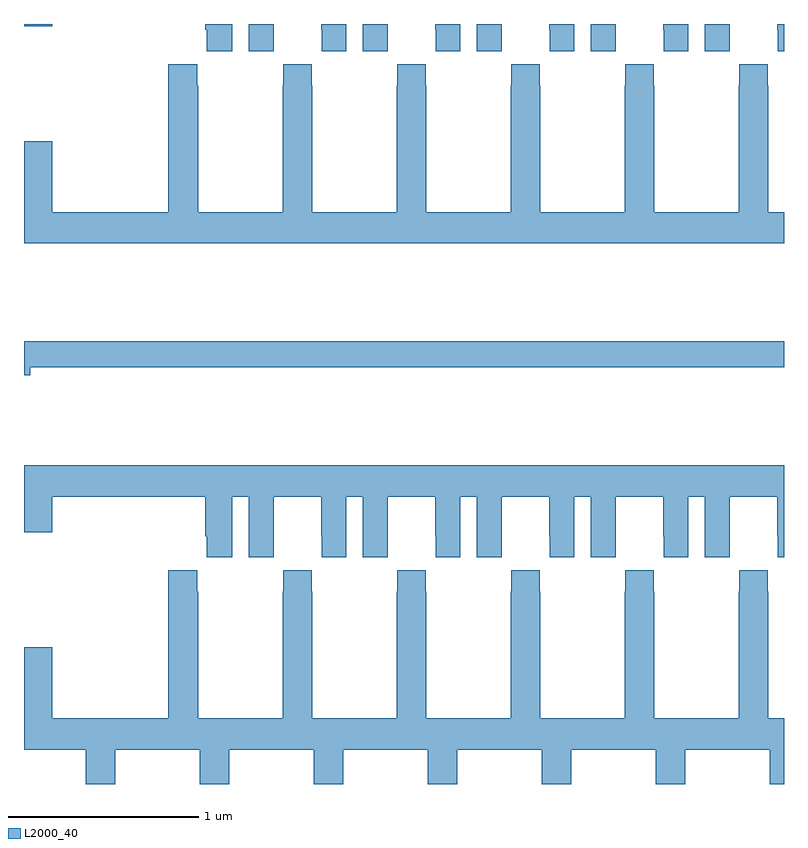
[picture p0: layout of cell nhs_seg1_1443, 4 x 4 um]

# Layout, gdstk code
import gdstk
lib = gdstk.Library(unit=1e-6, precision=1e-09)
def R(c, l, rs):  # rectangles x0, y0, x1, y1
    for r in rs: c.add(gdstk.rectangle(r[:2], r[2:], *l))
def P(c, l, *ps):  # polygons
    for p in ps: c.add(gdstk.Polygon(p, *l))
L2000_40 = (2000, 40)

nhs_seg1_1443 = lib.new_cell('nhs_seg1_1443')
R(nhs_seg1_1443, L2000_40, [(189,574.188,189.148,574.199)])
P(nhs_seg1_1443, L2000_40, [(193,574.199),(192.965,574.199),(192.965,574.168),(192.966,574.168),(192.966,574.056),(193,574.056)],
  [(192.714,574.168),(192.715,574.168),(192.715,574.199),(192.584,574.199),(192.584,574.056),(192.714,574.056)],
  [(192.365,574.168),(192.366,574.168),(192.366,574.056),(192.496,574.056),(192.496,574.199),(192.365,574.199)],
  [(190.096,574.199),(189.953,574.199),(189.953,574.168),(189.962,574.168),(189.962,574.056),(190.096,574.056)],
  [(190.314,574.168),(190.315,574.168),(190.315,574.199),(190.184,574.199),(190.184,574.056),(190.314,574.056)],
  [(190.696,574.199),(190.565,574.199),(190.565,574.168),(190.566,574.168),(190.566,574.056),(190.696,574.056)],
  [(190.914,574.168),(190.915,574.168),(190.915,574.199),(190.784,574.199),(190.784,574.056),(190.914,574.056)],
  [(191.296,574.199),(191.165,574.199),(191.165,574.168),(191.166,574.168),(191.166,574.056),(191.296,574.056)],
  [(191.514,574.168),(191.515,574.168),(191.515,574.199),(191.384,574.199),(191.384,574.056),(191.514,574.056)],
  [(191.896,574.199),(191.765,574.199),(191.765,574.168),(191.766,574.168),(191.766,574.056),(191.896,574.056)],
  [(192.114,574.168),(192.115,574.168),(192.115,574.199),(191.984,574.199),(191.984,574.056),(192.114,574.056)],
  [(193,573.208),(192.918,573.208),(192.918,573.875),(192.915,573.875),(192.915,573.988),(192.765,573.988),(192.765,573.875),(192.763,573.875),(192.763,573.208),(192.318,573.208),(192.318,573.875),(192.315,573.875),(192.315,573.988),(192.165,573.988),(192.165,573.875),(192.163,573.875),(192.163,573.208),(191.718,573.208),(191.718,573.875),(191.715,573.875),(191.715,573.988),(191.565,573.988),(191.565,573.875),(191.563,573.875),(191.563,573.208),(191.118,573.208),(191.118,573.875),(191.115,573.875),(191.115,573.988),(190.965,573.988),(190.965,573.875),(190.963,573.875),(190.963,573.208),(190.518,573.208),(190.518,573.875),(190.515,573.875),(190.515,573.988),(190.365,573.988),(190.365,573.875),(190.363,573.875),(190.363,573.208),(189.918,573.208),(189.918,573.875),(189.911,573.875),(189.911,573.988),(189.758,573.988),(189.758,573.208),(189.148,573.208),(189.148,573.583),(189,573.583),(189,573.044),(193,573.044)],
  [(189.034,572.392),(193,572.392),(193,572.528),(189,572.528),(189,572.35),(189.034,572.35)],
  [(190.096,571.712),(190.184,571.712),(190.184,571.392),(190.314,571.392),(190.314,571.504),(190.315,571.504),(190.315,571.712),(190.565,571.712),(190.565,571.504),(190.566,571.504),(190.566,571.392),(190.696,571.392),(190.696,571.712),(190.784,571.712),(190.784,571.392),(190.914,571.392),(190.914,571.504),(190.915,571.504),(190.915,571.712),(191.165,571.712),(191.165,571.504),(191.166,571.504),(191.166,571.392),(191.296,571.392),(191.296,571.712),(191.384,571.712),(191.384,571.392),(191.514,571.392),(191.514,571.504),(191.515,571.504),(191.515,571.712),(191.765,571.712),(191.765,571.504),(191.766,571.504),(191.766,571.392),(191.896,571.392),(191.896,571.712),(191.984,571.712),(191.984,571.392),(192.114,571.392),(192.114,571.504),(192.115,571.504),(192.115,571.712),(192.365,571.712),(192.365,571.504),(192.366,571.504),(192.366,571.392),(192.496,571.392),(192.496,571.712),(192.584,571.712),(192.584,571.392),(192.714,571.392),(192.714,571.504),(192.715,571.504),(192.715,571.712),(192.965,571.712),(192.965,571.504),(192.966,571.504),(192.966,571.392),(193,571.392),(193,571.876),(189,571.876),(189,571.524),(189.148,571.524),(189.148,571.712),(189.953,571.712),(189.953,571.504),(189.962,571.504),(189.962,571.392),(190.096,571.392)],
  [(191.28,570.38),(191.725,570.38),(191.725,570.199),(191.88,570.199),(191.88,570.38),(192.325,570.38),(192.325,570.199),(192.48,570.199),(192.48,570.38),(192.925,570.38),(192.925,570.199),(193,570.199),(193,570.544),(192.918,570.544),(192.918,571.211),(192.915,571.211),(192.915,571.324),(192.765,571.324),(192.765,571.211),(192.763,571.211),(192.763,570.544),(192.318,570.544),(192.318,571.211),(192.315,571.211),(192.315,571.324),(192.165,571.324),(192.165,571.211),(192.163,571.211),(192.163,570.544),(191.718,570.544),(191.718,571.211),(191.715,571.211),(191.715,571.324),(191.565,571.324),(191.565,571.211),(191.563,571.211),(191.563,570.544),(191.118,570.544),(191.118,571.211),(191.115,571.211),(191.115,571.324),(190.965,571.324),(190.965,571.211),(190.963,571.211),(190.963,570.544),(190.518,570.544),(190.518,571.211),(190.515,571.211),(190.515,571.324),(190.365,571.324),(190.365,571.211),(190.363,571.211),(190.363,570.544),(189.918,570.544),(189.918,571.211),(189.911,571.211),(189.911,571.324),(189.758,571.324),(189.758,570.544),(189.148,570.544),(189.148,570.919),(189,570.919),(189,570.38),(189.325,570.38),(189.325,570.199),(189.48,570.199),(189.48,570.38),(189.925,570.38),(189.925,570.199),(190.08,570.199),(190.08,570.38),(190.525,570.38),(190.525,570.199),(190.68,570.199),(190.68,570.38),(191.125,570.38),(191.125,570.199),(191.28,570.199)])

lib.write_gds('nhs_seg1_1443.gds')
